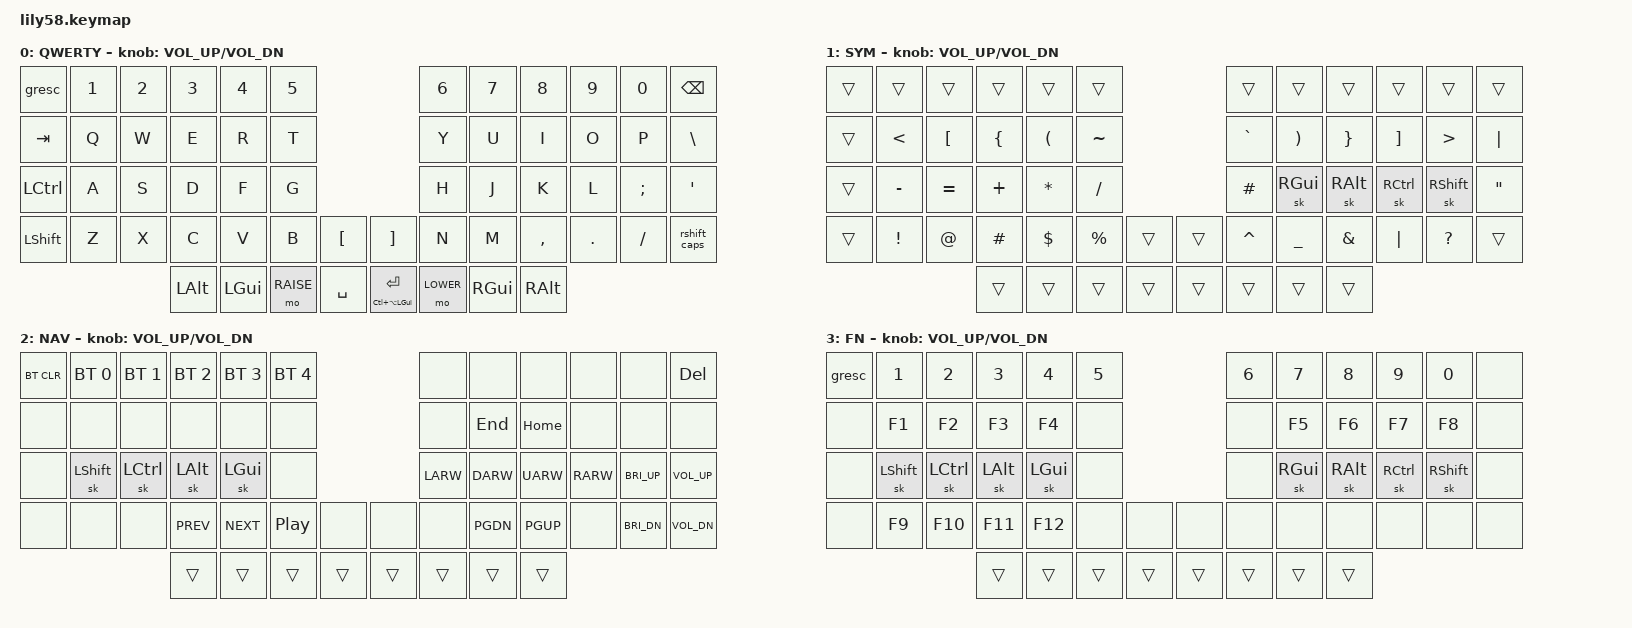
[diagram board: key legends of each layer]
/*
 * Copyright (c) 2020 The ZMK Contributors
 *
 * SPDX-License-Identifier: MIT
 */

#include <behaviors.dtsi>
#include <dt-bindings/zmk/keys.h>
#include <dt-bindings/zmk/bt.h>

#define DEF 0
#define LOWER 1
#define RAISE 2
#define FN 3

#define HYP LS(LC(LA(LGUI)))
#define MEH LC(LA(LGUI))
#define HYPER(key) LS(LC(LA(LG(key))))
#define MO_TOG(layer) &mo_tog layer layer

&mt {
  tapping-term-ms = <200>;
};

/ {
    behaviors {
      mo_tog: behavior_mo_tog {
        compatible = "zmk,behavior-hold-tap";
        label = "mo_tog";
        #binding-cells = <2>;
        flavor = "hold-preferred";
        tapping-term-ms = <200>;
        bindings = <&mo>, <&tog>;
      };

      rshift_caps: tap_dance_0 {
        compatible = "zmk,behavior-tap-dance";
        label = "rshift_caps";
        #binding-cells = <0>;
        tapping-term-ms = <200>;
        bindings = <&kp RSHFT>, <&kp CAPS>;
      };
    };

    conditional_layers {
      compatible = "zmk,conditional-layers";
      tri_layer { 
        if-layers = <LOWER RAISE>;
        then-layer = <FN>;
      };
    };

    keymap {
        compatible = "zmk,keymap";

        default_layer {
            display-name = "QWERTY";
            bindings = <
&gresc    &kp N1 &kp N2 &kp N3    &kp N4   &kp N5                           &kp N6    &kp N7    &kp N8    &kp N9  &kp N0   &kp BSPC
&kp TAB   &kp Q  &kp W  &kp E     &kp R    &kp T                            &kp Y     &kp U     &kp I     &kp O   &kp P    &kp BSLH
&kp LCTRL &kp A  &kp S  &kp D     &kp F    &kp G                            &kp H     &kp J     &kp K     &kp L   &kp SEMI &kp SQT
&kp LSHFT &kp Z  &kp X  &kp C     &kp V    &kp B     &kp LBKT   &kp RBKT    &kp N     &kp M     &kp COMMA &kp DOT &kp FSLH &rshift_caps
                        &kp LALT  &kp LGUI &mo RAISE &kp SPACE  &mt MEH RET &mo LOWER &kp RGUI  &kp RALT
            >;

            sensor-bindings = <&inc_dec_kp C_VOL_UP C_VOL_DN>;
        };

        lower_layer {
            display-name = "SYM";
            bindings = <
&trans     &trans       &trans       &trans       &trans       &trans                          &trans    &trans    &trans    &trans    &trans    &trans
&trans     &kp LT       &kp LBKT     &kp LBRC     &kp LPAR     &kp TILDE                       &kp GRAVE &kp RPAR  &kp RBRC  &kp RBKT  &kp GT    &kp PIPE
&trans     &kp MINUS    &kp EQUAL    &kp PLUS     &kp STAR     &kp FSLH                        &kp POUND &sk RGUI  &sk RALT  &sk RCTRL &sk RSHFT &kp DQT
&trans     &kp EXCL     &kp AT       &kp POUND    &kp DLLR     &kp PRCNT    &trans   &trans    &kp CARET &kp UNDER &kp AMPS  &kp PIPE  &kp QMARK &trans
                                     &trans       &trans       &trans       &trans   &trans    &trans    &trans    &trans
            >;

            sensor-bindings = <&inc_dec_kp C_VOL_UP C_VOL_DN>;
        };

        raise_layer {
            display-name = "NAV";
            bindings = <
&bt BT_CLR &bt BT_SEL 0 &bt BT_SEL 1 &bt BT_SEL 2 &bt BT_SEL 3 &bt BT_SEL 4                 &none     &none     &none     &none     &none         &kp DEL
&none      &none        &none        &none        &none        &none                        &none     &kp END   &kp HOME  &none     &none         &none 
&none      &sk LSHFT    &sk LCTRL    &sk LALT     &sk LGUI     &none                        &kp LARW  &kp DARW  &kp UARW  &kp RARW  &kp C_BRI_UP  &kp C_VOL_UP
&none      &none        &none        &kp C_PREV   &kp C_NEXT   &kp C_PP  &none    &none     &none     &kp PGDN  &kp PGUP  &none     &kp C_BRI_DN  &kp C_VOL_DN
                                     &trans       &trans       &trans    &trans   &trans    &trans    &trans    &trans
            >;

            sensor-bindings = <&inc_dec_kp C_VOL_UP C_VOL_DN>;
        };

        fn_layer {
            display-name = "FN";
            bindings = <
&gresc     &kp N1       &kp N2       &kp N3       &kp N4       &kp N5                      &kp N6    &kp N7    &kp N8   &kp N9    &kp N0    &none
&none      &kp F1       &kp F2       &kp F3       &kp F4       &none                       &none     &kp F5    &kp F6   &kp F7    &kp F8    &none 
&none      &sk LSHFT    &sk LCTRL    &sk LALT     &sk LGUI     &none                       &none     &sk RGUI  &sk RALT &sk RCTRL &sk RSHFT &none 
&none      &kp F9       &kp F10      &kp F11      &kp F12      &none     &none   &none     &none     &none     &none    &none     &none     &none 
                                     &trans       &trans       &trans    &trans  &trans    &trans    &trans    &trans
            >;

            sensor-bindings = <&inc_dec_kp C_VOL_UP C_VOL_DN>;
        };
    };
};

